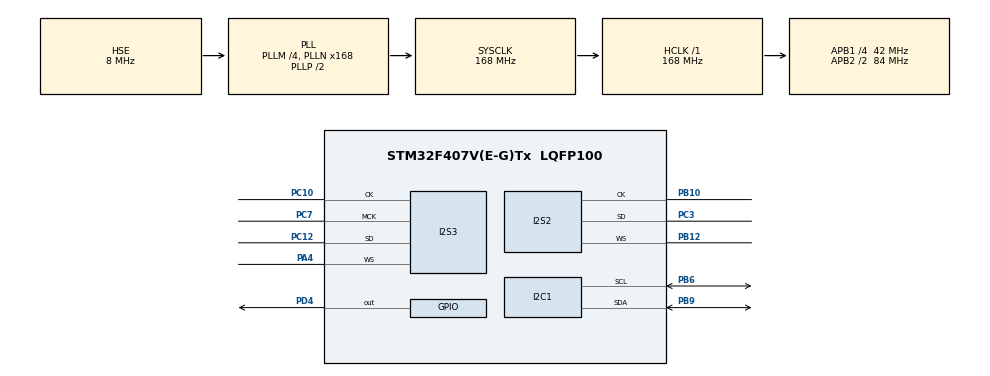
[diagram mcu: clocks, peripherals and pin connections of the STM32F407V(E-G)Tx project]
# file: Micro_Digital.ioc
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Dma.Request0=SPI3_TX
Dma.SPI3_TX.0.Direction=DMA_MEMORY_TO_PERIPH
Dma.SPI3_TX.0.FIFOMode=DMA_FIFOMODE_DISABLE
Dma.SPI3_TX.0.Instance=DMA1_Stream5
Dma.SPI3_TX.0.MemDataAlignment=DMA_MDATAALIGN_HALFWORD
Dma.SPI3_TX.0.MemInc=DMA_MINC_ENABLE
Dma.SPI3_TX.0.Mode=DMA_CIRCULAR
Dma.SPI3_TX.0.PeriphDataAlignment=DMA_PDATAALIGN_HALFWORD
Dma.SPI3_TX.0.PeriphInc=DMA_PINC_DISABLE
Dma.SPI3_TX.0.Priority=DMA_PRIORITY_LOW
I2S2.AudioFreq=I2S_AUDIOFREQ_48K
I2S2.DataFormat=I2S_DATAFORMAT_16B
I2S2.ErrorAudioFreq=-1.35 %
I2S2.FullDuplexMode=I2S_FULLDUPLEXMODE_DISABLE
I2S2.Instance=SPI$Index
I2S2.Mode=I2S_MODE_SLAVE_RX
I2S2.RealAudioFreq=47.348 KHz
I2S2.VirtualMode=I2S_MODE_SLAVE
I2S3.AudioFreq=I2S_AUDIOFREQ_48K
I2S3.DataFormat=I2S_DATAFORMAT_16B
I2S3.ErrorAudioFreq=1.72 %
I2S3.FullDuplexMode=I2S_FULLDUPLEXMODE_DISABLE
I2S3.Instance=SPI$Index
I2S3.RealAudioFreq=48.828 KHz
I2S3.VirtualMode=I2S_MODE_MASTER
Mcu.Family=STM32F4
Mcu.Name=STM32F407V(E-G)Tx
Mcu.Package=LQFP100
NVIC.DMA1_Stream5_IRQn=true\:0\:0\:false\:false\:true\:false\:true
NVIC.PriorityGroup=NVIC_PRIORITYGROUP_4
NVIC.SPI2_IRQn=true\:0\:0\:false\:false\:true\:true\:true
PA13.Mode=Serial_Wire
PA13.Signal=SYS_JTMS-SWDIO
PA14.Mode=Serial_Wire
PA14.Signal=SYS_JTCK-SWCLK
PA4.Mode=Half_Duplex_Master
PA4.Signal=I2S3_WS
PB10.Mode=Half_Duplex_Slave
PB10.Signal=I2S2_CK
PB12.Mode=Half_Duplex_Slave
PB12.Signal=I2S2_WS
PB6.Mode=I2C
PB6.Signal=I2C1_SCL
PB9.Mode=I2C
PB9.Signal=I2C1_SDA
PC10.Mode=Half_Duplex_Master
PC10.Signal=I2S3_CK
PC12.Mode=Half_Duplex_Master
PC12.Signal=I2S3_SD
PC3.Mode=Half_Duplex_Slave
PC3.Signal=I2S2_SD
PC7.Mode=Master_Clock_Activated
PC7.Signal=I2S3_MCK
PD4.Signal=GPIO_Output
PDM2PCM.CHANNEL1_decimation_factor=PDM_FILTER_DEC_FACTOR_64
PDM2PCM.CHANNEL1_in_ptr_channels=1
PDM2PCM.CHANNEL1_mic_gain=24
PDM2PCM.CHANNEL1_out_ptr_channels=1
PDM2PCM.CHANNEL1_output_samples_number=8
PH0-OSC_IN.Mode=HSE-External-Oscillator
PH0-OSC_IN.Signal=RCC_OSC_IN
PH1-OSC_OUT.Mode=HSE-External-Oscillator
PH1-OSC_OUT.Signal=RCC_OSC_OUT
ProjectManager.HeapSize=0x200
ProjectManager.StackSize=0x400
ProjectManager.TargetToolchain=MDK-ARM V5.27
RCC.48MHZClocksFreq_Value=84000000
RCC.AHBFreq_Value=168000000
RCC.APB1CLKDivider=RCC_HCLK_DIV4
RCC.APB1Freq_Value=42000000
RCC.APB1TimFreq_Value=84000000
RCC.APB2CLKDivider=RCC_HCLK_DIV2
RCC.APB2Freq_Value=84000000
RCC.APB2TimFreq_Value=168000000
RCC.CortexFreq_Value=168000000
RCC.HCLKFreq_Value=168000000
RCC.HSE_VALUE=8000000
RCC.HSI_VALUE=16000000
RCC.LSE_VALUE=32768
RCC.PLLI2SN=50
RCC.PLLM=4
RCC.PLLN=168
RCC.PLLSourceVirtual=RCC_PLLSOURCE_HSE
RCC.SYSCLKFreq_VALUE=168000000
RCC.SYSCLKSource=RCC_SYSCLKSOURCE_PLLCLK
RCC.VCOOutputFreq_Value=336000000
VP_CRC_VS_CRC.Mode=CRC_Activate
VP_PDM2PCM_VS_PDM2PCM.Mode=PDM2PCM_Channel
board=custom

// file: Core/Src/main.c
/* USER CODE BEGIN Header */
/**
  ******************************************************************************
  * @file           : main.c
  * @brief          : Main program body
  ******************************************************************************
  * @attention
  *
  * <h2><center>&copy; Copyright (c) 2020 STMicroelectronics.
  * All rights reserved.</center></h2>
  *
  * This software component is licensed by ST under Ultimate Liberty license
  * SLA0044, the "License"; You may not use this file except in compliance with
  * the License. You may obtain a copy of the License at:
  *                             www.st.com/SLA0044
  *
  ******************************************************************************
  */
/* USER CODE END Header */
#include "main.h"
#include "pdm2pcm.h"

/* USER CODE BEGIN Includes */
#include "cs43l22.h"
/* USER CODE END Includes */

CRC_HandleTypeDef hcrc;

I2C_HandleTypeDef hi2c1;

I2S_HandleTypeDef hi2s2;
I2S_HandleTypeDef hi2s3;
DMA_HandleTypeDef hdma_spi3_tx;

/* USER CODE BEGIN PV */

uint16_t pdm_buf[32];
uint16_t pcm_buf[8];
uint16_t pcm_tx_buf[16];

uint8_t i2s_rx_cplt = 0;
uint8_t i2s_rx_half_cplt = 0;
/* USER CODE END PV */

void SystemClock_Config(void);
static void MX_GPIO_Init(void);
static void MX_DMA_Init(void);
static void MX_CRC_Init(void);
static void MX_I2S2_Init(void);
static void MX_I2S3_Init(void);
static void MX_I2C1_Init(void);

int main(void)
{

  /* MCU Configuration--------------------------------------------------------*/

  /* Reset of all peripherals, Initializes the Flash interface and the Systick. */
  HAL_Init();

  /* Configure the system clock */
  SystemClock_Config();

  /* Initialize all configured peripherals */
  MX_GPIO_Init();
  MX_DMA_Init();
  MX_CRC_Init();
  MX_I2S2_Init();
  MX_I2S3_Init();
  MX_PDM2PCM_Init();
  MX_I2C1_Init();
  /* USER CODE BEGIN 2 */
	CS43_Init(hi2c1,MODE_I2S);
	CS43_SetVolume(50);
	CS43_Enable_RightLeft(CS43_RIGHT_LEFT);
	CS43_Start();

	//HAL_I2S_Receive_DMA(&hi2s2,pdm_buf,32);
	HAL_I2S_Transmit_DMA(&hi2s3,pcm_tx_buf,16); // send to CoDec  ---- fre 48Khz

	HAL_I2S_Receive_IT(&hi2s2,(uint16_t*)pdm_buf,32); //receive from Microphone   ---- fre 48Khz
  /* USER CODE END 2 */

  /* Infinite loop */
  /* USER CODE BEGIN WHILE */

	/*
	- Bo DMA STM truyen lien tuc ta chi viec dua du lieu vao,
	=> can su dung co khi nao truyen xong 1 luot moi day du lieu moi vao
	*/

  while (1)
  {
		if(i2s_rx_cplt == 1)
		{
			for(int i = 0; i < 15; i = i+2)
			{
				pcm_tx_buf[i] = pcm_buf[i/2];
				pcm_tx_buf[i+1] = pcm_buf[i/2];
			}

			PDM_Filter(pdm_buf,pcm_buf,&PDM1_filter_handler); // can gui di pcm_buf, chuyen thanh pcm_buf_tx, can truyen di pcm_buf_tx truoc day)
			i2s_rx_cplt = 0;
		}

    /* USER CODE END WHILE */

  }
}

void SystemClock_Config(void)
{
  RCC_OscInitTypeDef RCC_OscInitStruct = {0};
  RCC_ClkInitTypeDef RCC_ClkInitStruct = {0};
  RCC_PeriphCLKInitTypeDef PeriphClkInitStruct = {0};

  /** Configure the main internal regulator output voltage
  */
  __HAL_RCC_PWR_CLK_ENABLE();
  __HAL_PWR_VOLTAGESCALING_CONFIG(PWR_REGULATOR_VOLTAGE_SCALE1);
  /** Initializes the RCC Oscillators according to the specified parameters
  * in the RCC_OscInitTypeDef structure.
  */
  RCC_OscInitStruct.OscillatorType = RCC_OSCILLATORTYPE_HSE;
  RCC_OscInitStruct.HSEState = RCC_HSE_ON;
  RCC_OscInitStruct.PLL.PLLState = RCC_PLL_ON;
  RCC_OscInitStruct.PLL.PLLSource = RCC_PLLSOURCE_HSE;
  RCC_OscInitStruct.PLL.PLLM = 4;
  RCC_OscInitStruct.PLL.PLLN = 168;
  RCC_OscInitStruct.PLL.PLLP = RCC_PLLP_DIV2;
  RCC_OscInitStruct.PLL.PLLQ = 4;
  if (HAL_RCC_OscConfig(&RCC_OscInitStruct) != HAL_OK)
  {
    Error_Handler();
  }
  /** Initializes the CPU, AHB and APB buses clocks
  */
  RCC_ClkInitStruct.ClockType = RCC_CLOCKTYPE_HCLK|RCC_CLOCKTYPE_SYSCLK
                              |RCC_CLOCKTYPE_PCLK1|RCC_CLOCKTYPE_PCLK2;
  RCC_ClkInitStruct.SYSCLKSource = RCC_SYSCLKSOURCE_PLLCLK;
  RCC_ClkInitStruct.AHBCLKDivider = RCC_SYSCLK_DIV1;
  RCC_ClkInitStruct.APB1CLKDivider = RCC_HCLK_DIV4;
  RCC_ClkInitStruct.APB2CLKDivider = RCC_HCLK_DIV2;

  if (HAL_RCC_ClockConfig(&RCC_ClkInitStruct, FLASH_LATENCY_5) != HAL_OK)
  {
    Error_Handler();
  }
  PeriphClkInitStruct.PeriphClockSelection = RCC_PERIPHCLK_I2S;
  PeriphClkInitStruct.PLLI2S.PLLI2SN = 50;
  PeriphClkInitStruct.PLLI2S.PLLI2SR = 2;
  if (HAL_RCCEx_PeriphCLKConfig(&PeriphClkInitStruct) != HAL_OK)
  {
    Error_Handler();
  }
}

static void MX_CRC_Init(void)
{

  hcrc.Instance = CRC;
  if (HAL_CRC_Init(&hcrc) != HAL_OK)
  {
    Error_Handler();
  }
  __HAL_CRC_DR_RESET(&hcrc);

}

static void MX_I2C1_Init(void)
{

  hi2c1.Instance = I2C1;
  hi2c1.Init.ClockSpeed = 100000;
  hi2c1.Init.DutyCycle = I2C_DUTYCYCLE_2;
  hi2c1.Init.OwnAddress1 = 0;
  hi2c1.Init.AddressingMode = I2C_ADDRESSINGMODE_7BIT;
  hi2c1.Init.DualAddressMode = I2C_DUALADDRESS_DISABLE;
  hi2c1.Init.OwnAddress2 = 0;
  hi2c1.Init.GeneralCallMode = I2C_GENERALCALL_DISABLE;
  hi2c1.Init.NoStretchMode = I2C_NOSTRETCH_DISABLE;
  if (HAL_I2C_Init(&hi2c1) != HAL_OK)
  {
    Error_Handler();
  }

}

static void MX_I2S2_Init(void)
{

  hi2s2.Instance = SPI2;
  hi2s2.Init.Mode = I2S_MODE_SLAVE_RX;
  hi2s2.Init.Standard = I2S_STANDARD_PHILIPS;
  hi2s2.Init.DataFormat = I2S_DATAFORMAT_16B;
  hi2s2.Init.MCLKOutput = I2S_MCLKOUTPUT_DISABLE;
  hi2s2.Init.AudioFreq = I2S_AUDIOFREQ_48K;
  hi2s2.Init.CPOL = I2S_CPOL_LOW;
  hi2s2.Init.ClockSource = I2S_CLOCK_PLL;
  hi2s2.Init.FullDuplexMode = I2S_FULLDUPLEXMODE_DISABLE;
  if (HAL_I2S_Init(&hi2s2) != HAL_OK)
  {
    Error_Handler();
  }

}

static void MX_I2S3_Init(void)
{

  hi2s3.Instance = SPI3;
  hi2s3.Init.Mode = I2S_MODE_MASTER_TX;
  hi2s3.Init.Standard = I2S_STANDARD_PHILIPS;
  hi2s3.Init.DataFormat = I2S_DATAFORMAT_16B;
  hi2s3.Init.MCLKOutput = I2S_MCLKOUTPUT_ENABLE;
  hi2s3.Init.AudioFreq = I2S_AUDIOFREQ_48K;
  hi2s3.Init.CPOL = I2S_CPOL_LOW;
  hi2s3.Init.ClockSource = I2S_CLOCK_PLL;
  hi2s3.Init.FullDuplexMode = I2S_FULLDUPLEXMODE_DISABLE;
  if (HAL_I2S_Init(&hi2s3) != HAL_OK)
  {
    Error_Handler();
  }

}

static void MX_DMA_Init(void)
{

  /* DMA controller clock enable */
  __HAL_RCC_DMA1_CLK_ENABLE();

  /* DMA interrupt init */
  /* DMA1_Stream5_IRQn interrupt configuration */
  HAL_NVIC_SetPriority(DMA1_Stream5_IRQn, 0, 0);
  HAL_NVIC_EnableIRQ(DMA1_Stream5_IRQn);

}

static void MX_GPIO_Init(void)
{
  GPIO_InitTypeDef GPIO_InitStruct = {0};

  /* GPIO Ports Clock Enable */
  __HAL_RCC_GPIOH_CLK_ENABLE();
  __HAL_RCC_GPIOC_CLK_ENABLE();
  __HAL_RCC_GPIOA_CLK_ENABLE();
  __HAL_RCC_GPIOB_CLK_ENABLE();
  __HAL_RCC_GPIOD_CLK_ENABLE();

  /*Configure GPIO pin Output Level */
  HAL_GPIO_WritePin(GPIOD, GPIO_PIN_4, GPIO_PIN_RESET);

  /*Configure GPIO pin : PD4 */
  GPIO_InitStruct.Pin = GPIO_PIN_4;
  GPIO_InitStruct.Mode = GPIO_MODE_OUTPUT_PP;
  GPIO_InitStruct.Pull = GPIO_NOPULL;
  GPIO_InitStruct.Speed = GPIO_SPEED_FREQ_LOW;
  HAL_GPIO_Init(GPIOD, &GPIO_InitStruct);

}

/* USER CODE BEGIN 4 */

void HAL_I2S_RxCpltCallback(I2S_HandleTypeDef *hi2s)
{
	i2s_rx_cplt = 1;
	HAL_I2S_Receive_IT(&hi2s2,pdm_buf,32);
}

void HAL_I2S_RxHalfCpltCallback(I2S_HandleTypeDef *hi2s)
{
	i2s_rx_half_cplt = 1;
}

/* USER CODE END 4 */

void Error_Handler(void)
{
}

/************************ (C) COPYRIGHT STMicroelectronics *****END OF FILE****/
